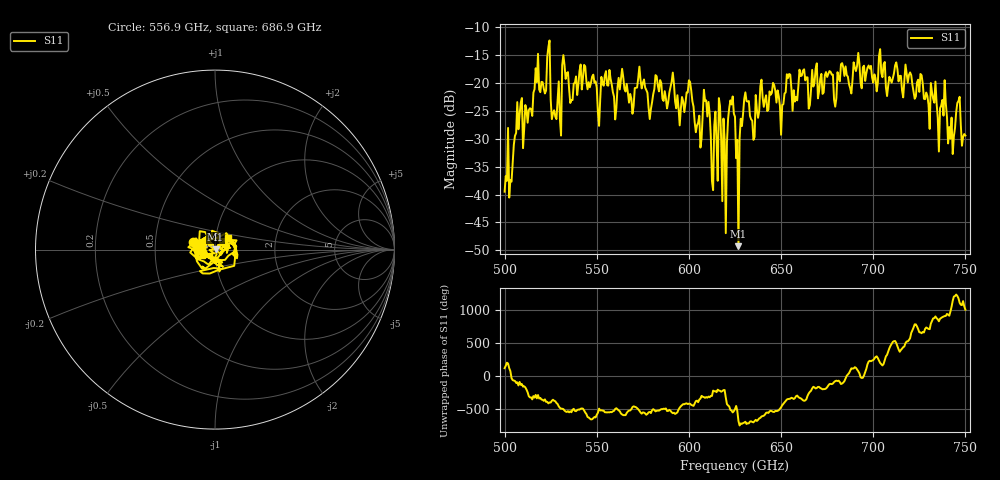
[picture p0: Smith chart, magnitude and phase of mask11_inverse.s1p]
!Created with skrf (http://scikit-rf.org).
# GHz S MA R 50.0
!freq magS11 angS11
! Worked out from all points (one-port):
!   401 points, 500 GHz to 750 GHz, reference 50 ohm
!   lowest |S11| = -49.2 dB at 626.9 GHz (marker M1), VSWR 1.01, Z = 50.3 + j0.171 ohm
!   |S11| at or under -10 dB: start of sweep to end of sweep
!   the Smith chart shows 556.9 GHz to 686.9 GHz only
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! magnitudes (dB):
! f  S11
! 500 GHz  -39.5
! 503.8 GHz  -37.7
! 508.1 GHz  -25.7
! 511.2 GHz  -24.0
! 516.9 GHz  -17.4
! 523.8 GHz  -13.6
! 526.9 GHz  -24.9
! 531.2 GHz  -16.9
! 562.5 GHz  -21.2
! 579.4 GHz  -24.7
! 590.6 GHz  -19.8
! 593.8 GHz  -22.2
! 600 GHz  -19.6
! 605.6 GHz  -25.9
! 609.4 GHz  -23.2
! 612.5 GHz  -37.6
! 615.6 GHz  -37.5
! 619.4 GHz  -30.2
! 622.5 GHz  -23.2
! 625 GHz  -26.1
! 626.9 GHz  -49.2
! 631.2 GHz  -23.3
! 634.4 GHz  -26.8
! 640 GHz  -22.7
! 656.2 GHz  -25.0
! 687.5 GHz  -21.0
! 718.8 GHz  -20.0
! 750 GHz  -29.5
